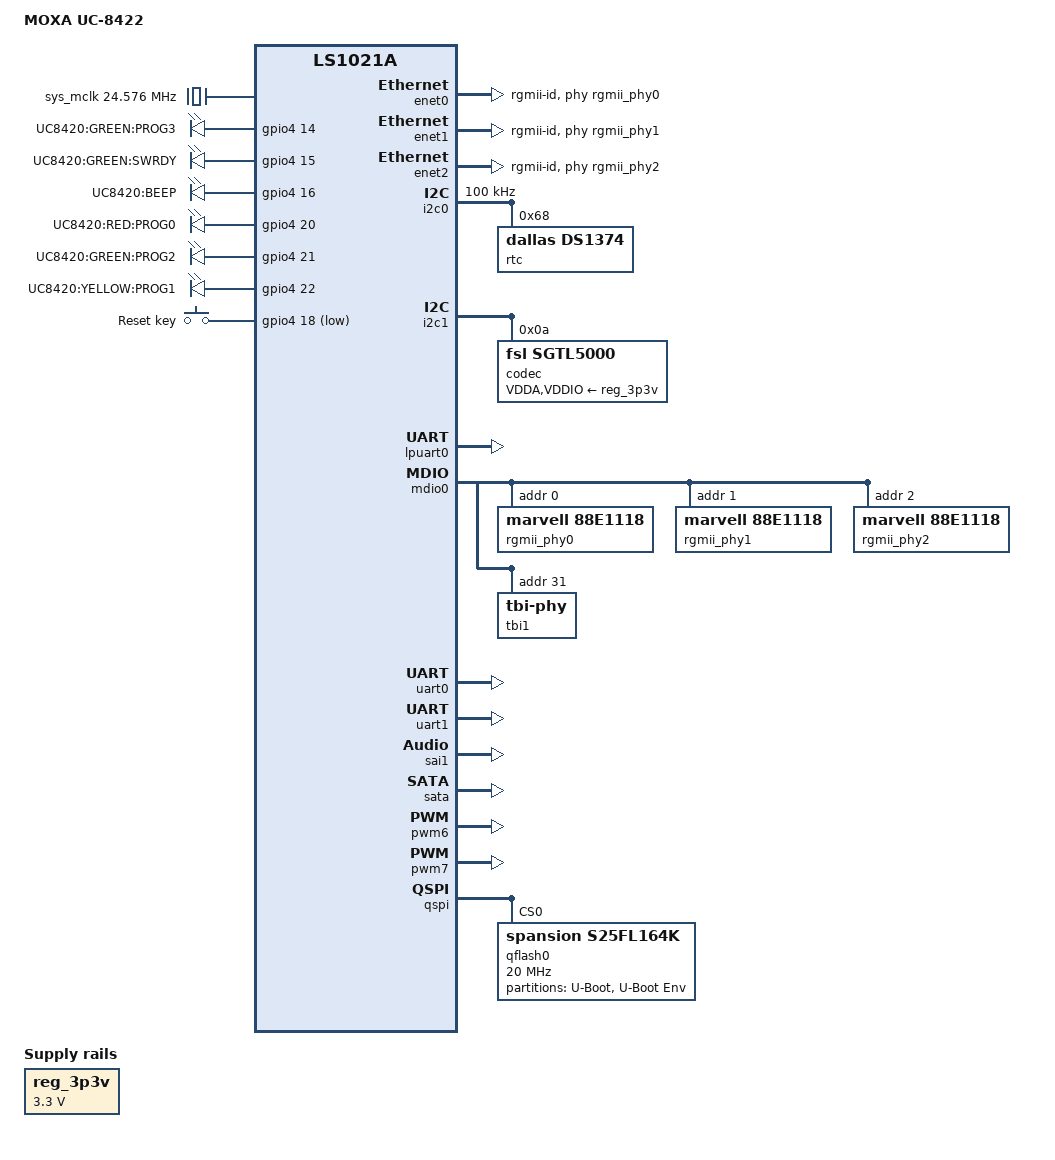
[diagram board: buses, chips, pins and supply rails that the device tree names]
/*
 * Copyright 2013-2014 Freescale Semiconductor, Inc.
 *
 * This file is dual-licensed: you can use it either under the terms
 * of the GPL or the X11 license, at your option. Note that this dual
 * licensing only applies to this file, and not this project as a
 * whole.
 *
 *  a) This file is free software; you can redistribute it and/or
 *     modify it under the terms of the GNU General Public License as
 *     published by the Free Software Foundation; either version 2 of
 *     the License, or (at your option) any later version.
 *
 *     This file is distributed in the hope that it will be useful,
 *     but WITHOUT ANY WARRANTY; without even the implied warranty of
 *     MERCHANTABILITY or FITNESS FOR A PARTICULAR PURPOSE.  See the
 *     GNU General Public License for more details.
 *
 *     You should have received a copy of the GNU General Public
 *     License along with this file; if not, write to the Free
 *     Software Foundation, Inc., 51 Franklin St, Fifth Floor, Boston,
 *     MA 02110-1301 USA
 *
 * Or, alternatively,
 *
 *  b) Permission is hereby granted, free of charge, to any person
 *     obtaining a copy of this software and associated documentation
 *     files (the "Software"), to deal in the Software without
 *     restriction, includingxwithout limitation the rights to use,
 *     copy, modify, merge, publish, distribute, sublicense, and/or
 *     sell copies of the Software, and to permit persons to whom the
 *     Software is furnished to do so, subject to the following
 *     conditions:
 *
 *     The above copyright notice and this permission notice shall be
 *     included in all copies or substantial portions of the Software.
 *
 *     THE SOFTWARE IS PROVIDED "AS IS", WITHOUT WARRANTY OF ANY KIND,
 *     EXPRESS OR IMPLIED, INCLUDING BUT NOT LIMITED TO THE WARRANTIES
 *     OF MERCHANTABILITY, FITNESS FOR A PARTICULAR PURPOSE AND
 *     NONINFRINGEMENT. IN NO EVENT SHALL THE AUTHORS OR COPYRIGHT
 *     HOLDERS BE LIABLE FOR ANY CLAIM, DAMAGES OR OTHER LIABILITY,
 *     WHETHER IN AN ACTION OF CONTRACT, TORT OR OTHERWISE, ARISING
 *     FROM, OUT OF OR IN CONNECTION WITH THE SOFTWARE OR THE USE OR
 *     OTHER DEALINGS IN THE SOFTWARE.
 */

/dts-v1/;
#include "ls1021a.dtsi"

/ {
	model = "MOXA UC-8422";
	compatible = "moxa,uc-8422", "fsl,ls1021a";

	aliases {
		enet0_rgmii_phy = &rgmii_phy0;
		enet1_rgmii_phy = &rgmii_phy1;
		enet2_rgmii_phy = &rgmii_phy2;
	};

	sys_mclk: clock-mclk {
		compatible = "fixed-clock";
		#clock-cells = <0>;
		clock-frequency = <24576000>;
	};

	mcp2515_clk: mcp2515_clk {
		compatible = "fixed-clock";
		#clock-cells = <0>;
		clock-frequency = <20000000>; //20MHz
	};

	regulators {
		compatible = "simple-bus";
		#address-cells = <1>;
		#size-cells = <0>;

		reg_3p3v: regulator@0 {
			compatible = "regulator-fixed";
			reg = <0>;
			regulator-name = "3P3V";
			regulator-min-microvolt = <3300000>;
			regulator-max-microvolt = <3300000>;
			regulator-always-on;
		};
	};

	leds {
		compatible = "gpio-leds";

		prog_green_led3 {
			label = "UC8420:GREEN:PROG3";
			gpios = <&gpio4 14 0>;
			default-state = "off";
		};

		sw_ready {
			label = "UC8420:GREEN:SWRDY";
			gpios = <&gpio4 15 0>;
			default-state = "off";
		};
		
		beeper {
			label = "UC8420:BEEP";
			gpios = <&gpio4 16 0>;
			default-state = "off";
		};
		
		prog_red_led0 {
			label = "UC8420:RED:PROG0";
			gpios = <&gpio4 20 0>;
			default-state = "off";
		};

		prog_green_led1 {
			label = "UC8420:GREEN:PROG2";
			gpios = <&gpio4 21 0>;
			default-state = "off";
		};

		prog_yellow_led2 {
			label = "UC8420:YELLOW:PROG1";
			gpios = <&gpio4 22 0>;
			default-state = "off";
		};

	};

	gpio-keys {
		compatible = "gpio-keys";
		reset-key {
			label = "Reset key";
			gpios = <&gpio4 18 1>;
			linux,code = <69>;
			default-state = "on";
		};
	};
	

};

&enet0 {
	phy-handle = <&rgmii_phy0>;
	phy-connection-type = "rgmii-id";
	status = "okay";
};

&enet1 {
	phy-handle = <&rgmii_phy1>;
	phy-connection-type = "rgmii-id";
	status = "okay";
};

&enet2 {
	phy-handle = <&rgmii_phy2>;
	phy-connection-type = "rgmii-id";
	status = "okay";
};

&i2c0 {
	status = "okay";
	/* clock-frequency = <400000>; */
	clock-frequency = <100000>;

   rtc@68 {
	compatible = "dallas,ds1374";
	reg = <0x68>;
    };
};

&i2c1 {
	status = "okay";
	codec: sgtl5000@a {
		compatible = "fsl,sgtl5000";
		reg = <0x0a>;
		VDDA-supply = <&reg_3p3v>;
		VDDIO-supply = <&reg_3p3v>;
		clocks = <&sys_mclk 1>;
	};
};

&i2c2 {
	status = "disabled";
	monitor: ltc2945@67 {
		reg = <0x67>;
	};
};

&ifc {
	status = "disabled";
	#address-cells = <2>;
	#size-cells = <1>;
	/* NOR Flash on board */
	ranges = <0x0 0x0 0x0 0x60000000 0x08000000>;

	nor@0,0 {
		#address-cells = <1>;
		#size-cells = <1>;
		compatible = "cfi-flash";
		reg = <0x0 0x0 0x8000000>;
		bank-width = <2>;
		device-width = <1>;
	};
};

&lpuart0 {
	status = "okay";
};

&mdio0 {
	rgmii_phy0: ethernet-phy@0 {
		compatible = "marvell,88e1118";
		reg = <0x0>;
		marvell,reg-init =
			/* marvell,reg-init = <reg-page reg mask value> */
			<3 0x11 0 0x4415>, /* Reg 3,17 */
			<3 0x10 0 0x77>; /* Reg 3,16 */
	};

	rgmii_phy1: ethernet-phy@1 {
		compatible = "marvell,88e1118";
		reg = <0x1>;
		marvell,reg-init =
			/* marvell,reg-init = <reg-page reg mask value> */
			<3 0x11 0 0x4415>, /* Reg 3,17 */
			<3 0x10 0 0x77>; /* Reg 3,16 */
	};

	rgmii_phy2: ethernet-phy@2 {
		compatible = "marvell,88e1118";
		reg = <0x2>;
		marvell,reg-init =
			/* marvell,reg-init = <reg-page reg mask value> */
			<3 0x11 0 0x4415>, /* Reg 3,17 */
			<3 0x10 0 0x77>; /* Reg 3,16 / LED[0]:orange LED[1]:green, 4bit per LED */
	};
	tbi1: tbi-phy@1f {
		reg = <0x1f>;
		device_type = "tbi-phy";
	};
};

&uart0 {
	status = "okay";
};

&uart1 {
	status = "okay";
};

&sai1 {
	status = "okay";
};

&sata {
        status = "okay";
};

&pwm6 {
	status = "okay";
};

&pwm7 {
	status = "okay";
};

&qspi {
	status = "okay";
	bus-num = <0>;
	fsl,spi-num-chipselects = <2>;
	fsl,spi-flash-chipselects = <0>;
	fsl,qspi-has-second-chip;

	qflash0: qspi_flash@0 {
		compatible = "spansion,s25fl164k", "spansion,s25fl064l", "mx25l6405d","jedec,spi-nor";
		spi-max-frequency = <20000000>;
		reg = <0>;

		partitions { /*according to kernel Document, must be "partitions", note the 's'*/
			compatible = "fixed-partitions";
			#address-cells = <1>;
			#size-cells = <1>;

			U-Boot@0 {
				label = "U-Boot";
				reg = <0x0 0x180000>;
			};
			U-Boot_Env@180000 {
				label = "U-Boot Env";
				reg = <0x180000 0x40000>;
			};
		};
	};	
};

